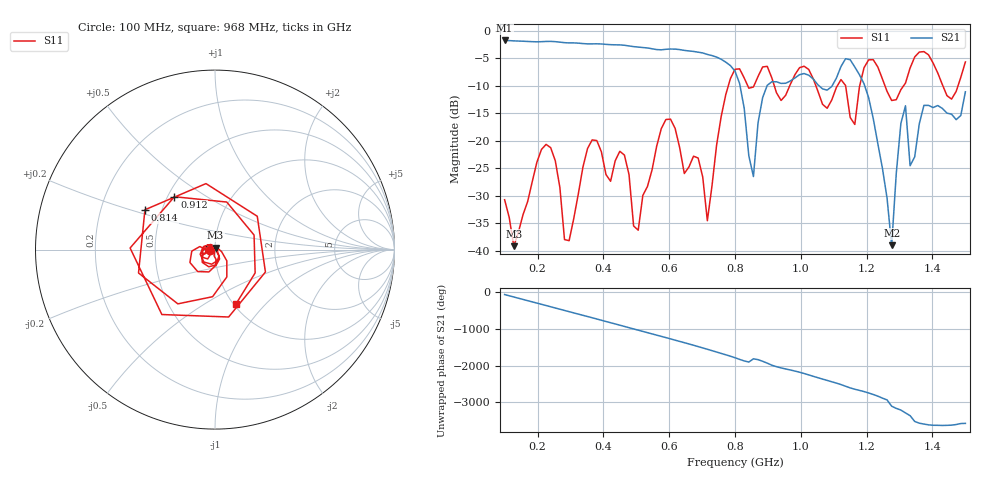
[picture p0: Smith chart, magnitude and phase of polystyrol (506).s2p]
! NanoVNA-App
! Date: 2025-09-25 15:33:49
! Start: 100MHz Stop: 1,5GHz Points: 101
! S-Parameter data: F S11 S21 S12 S22
# Hz S RI R 50
!  Frequency  S11_Real  S11_Imag  S21_Real  S21_Imag  S12_Real  S12_Imag  S22_Real  S22_Imag
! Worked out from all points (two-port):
!   101 points, 100 MHz to 1.5 GHz, reference 50 ohm
!   highest |S21| = -1.80 dB at 100 MHz (marker M1); lowest = -39.0 dB at 1.276 GHz (marker M2)
!   |S21| within 3 dB of the highest: start of sweep to 743.3 MHz
!   lowest |S11| = -39.1 dB at 128 MHz (marker M3), VSWR 1.02, Z = 50.3 + j1.06 ohm
!   |S11| at or under -10 dB: start of sweep to 779.8 MHz; 1.046 GHz to 1.111 GHz (65.64 MHz wide, 6.09 % of centre); 1.256 GHz to 1.313 GHz (57.02 MHz wide, 4.44 % of centre) (the widest 3 of 7)
!   S12 and S22 are empty: the file has one direction only
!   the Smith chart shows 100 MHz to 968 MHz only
!   S11 on the Smith chart (normalised r, x): 100 MHz: 0.94, -0.01; 814 MHz: 0.40, +0.22; 912 MHz: 0.54, +0.37; 968 MHz: 1.03, -0.69
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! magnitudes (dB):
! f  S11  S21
! 100 MHz  -30.7  -1.8
! 128 MHz  -39.1  -1.9
! 212 MHz  -21.6  -2.0
! 282 MHz  -37.9  -2.2
! 338 MHz  -24.8  -2.4
! 464 MHz  -22.6  -2.7
! 506 MHz  -36.2  -3.0
! 576 MHz  -17.8  -3.5
! 688 MHz  -23.1  -3.9
! 716 MHz  -34.5  -4.3
! 800 MHz  -7.0  -7.4
! 814 MHz  -7.0  -9.6
! 856 MHz  -10.2  -26.5
! 912 MHz  -8.6  -9.3
! 968 MHz  -9.8  -9.2
! 1.038 GHz  -8.8  -8.8
! 1.164 GHz  -17.0  -6.6
! 1.192 GHz  -6.7  -9.7
! 1.276 GHz  -12.7  -39.0
! 1.318 GHz  -9.5  -13.7
! 1.332 GHz  -6.8  -24.5
! 1.5 GHz  -5.7  -11.1
